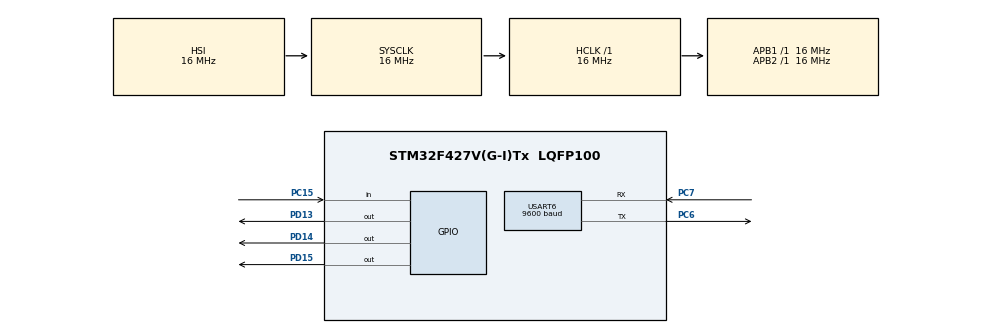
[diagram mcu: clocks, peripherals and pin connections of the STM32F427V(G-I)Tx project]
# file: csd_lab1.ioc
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Mcu.Family=STM32F4
Mcu.Name=STM32F427V(G-I)Tx
Mcu.Package=LQFP100
NVIC.PriorityGroup=NVIC_PRIORITYGROUP_4
NVIC.USART6_IRQn=true\:0\:0\:false\:false\:true\:true\:true\:true
PA13.Mode=JTAG_5_pins
PA13.Signal=SYS_JTMS-SWDIO
PA14.Mode=JTAG_5_pins
PA14.Signal=SYS_JTCK-SWCLK
PA15.Mode=JTAG_5_pins
PA15.Signal=SYS_JTDI
PB3.Mode=JTAG_5_pins
PB3.Signal=SYS_JTDO-SWO
PB4.Mode=JTAG_5_pins
PB4.Signal=SYS_JTRST
PC15/OSC32_OUT.Signal=GPIO_Input
PC6.Mode=Asynchronous
PC6.Signal=USART6_TX
PC7.Mode=Asynchronous
PC7.Signal=USART6_RX
PD13.Signal=GPIO_Output
PD14.Signal=GPIO_Output
PD15.Signal=GPIO_Output
ProjectManager.HeapSize=0x200
ProjectManager.StackSize=0x400
ProjectManager.TargetToolchain=STM32CubeIDE
RCC.AHBFreq_Value=16000000
RCC.APB1Freq_Value=16000000
RCC.APB2Freq_Value=16000000
RCC.CortexFreq_Value=16000000
RCC.HSE_VALUE=25000000
RCC.HSI_VALUE=16000000
RCC.LSE_VALUE=32768
RCC.SYSCLKFreq_VALUE=16000000
RCC.VCOOutputFreq_Value=192000000
USART6.BaudRate=9600
USART6.VirtualMode=VM_ASYNC
board=custom

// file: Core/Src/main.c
/* USER CODE BEGIN Header */
/**
 ******************************************************************************
 * @file           : main.c
 * @brief          : Main program body
 ******************************************************************************
 * @attention
 *
 * Copyright (c) 2023 STMicroelectronics.
 * All rights reserved.
 *
 * This software is licensed under terms that can be found in the LICENSE file
 * in the root directory of this software component.
 * If no LICENSE file comes with this software, it is provided AS-IS.
 *
 ******************************************************************************
 */
/* USER CODE END Header */
#include "main.h"
#include "usart.h"
#include "gpio.h"

/* USER CODE BEGIN Includes */
#include <stdlib.h>
#include <string.h>
/* USER CODE END Includes */

/* USER CODE BEGIN PV */
uint16_t GREEN_LIGHT = GPIO_PIN_13;
uint16_t YELLOW_LIGHT = GPIO_PIN_14;
uint16_t RED_LIGHT = GPIO_PIN_15;
uint16_t BUTTON = GPIO_PIN_15;
int maxCombIndex = 4;
uint32_t startTime = 0;
const uint32_t second = 1000;
uint16_t blink_mode = 0; // Номер комбинации

typedef struct {
	int length;
	int currentPhase;
	uint32_t *lamp; //Последовательность ламп в комбинации
	uint32_t *defaultTime; //Дефолтная продолжительность ламп
	uint32_t *leftTime; //Оставшаяся продолжительность ламп
} Combination;

Combination* combList;

typedef struct {
	uint8_t length;
	char *values;
	char *symbol;
} Buffer;

/* USER CODE END PV */

void SystemClock_Config(void);

/* USER CODE BEGIN 0 */

Buffer BufferConstructor(int length) {
	Buffer buffer;
	buffer.length = length;
	buffer.values = (char*) malloc(length * sizeof(char));
	buffer.symbol = buffer.values;

	return buffer;
}

Combination CombinationConstructor(int length, uint32_t *lamp,
		uint32_t *defaultTime) {
	Combination comb;
	comb.length = length;
	comb.currentPhase = 0;
	comb.lamp = (uint32_t*) malloc(length * sizeof(uint32_t));
	comb.defaultTime = (uint32_t*) malloc(length * sizeof(uint32_t));
	comb.leftTime = (uint32_t*) malloc(length * sizeof(uint32_t));

	// Copy values to allocated memory
	for (int i = 0; i < length; i++) {
		comb.lamp[i] = lamp[i];
		comb.defaultTime[i] = defaultTime[i];
		comb.leftTime[i] = defaultTime[i];
	}

	return comb;
}

Combination* CombListGenerator(int numCombinations) {
	Combination *combinationList = (Combination*) malloc(
			numCombinations * sizeof(Combination));

	// Combination 0
	uint32_t lamps0[] = { GREEN_LIGHT, YELLOW_LIGHT, RED_LIGHT };
	uint32_t defaultTime0[] = { 1 * second, 1 * second, 1 * second };
	combinationList[0] = CombinationConstructor(3, lamps0, defaultTime0);

	// Combination 1
	uint32_t lamps1[] = { RED_LIGHT, YELLOW_LIGHT };
	uint32_t defaultTime1[] = { 1 * second, 1 * second };
	combinationList[1] = CombinationConstructor(2, lamps1, defaultTime1);

	// Combination 2
	uint32_t lamps2[] = { GREEN_LIGHT, RED_LIGHT };
	uint32_t defaultTime2[] = { 1 * second, 1 * second };
	combinationList[2] = CombinationConstructor(2, lamps2, defaultTime2);

	// Combination 3
	uint32_t lamps3[] = { RED_LIGHT, YELLOW_LIGHT, GREEN_LIGHT };
	uint32_t defaultTime3[] = { 1 * second, 1 * second, 1* second };
	combinationList[3] = CombinationConstructor(3, lamps3, defaultTime3);

	// Combination 4
	uint32_t lamps4[] = { GREEN_LIGHT, YELLOW_LIGHT, GREEN_LIGHT };
	uint32_t defaultTime4[] = { 0.2 * second, 0.2 * second, 0.2 * second };
	combinationList[4] = CombinationConstructor(3, lamps4, defaultTime4);

	// Add more combinations as needed

	return combinationList;
}

void wait(uint32_t duration) {
	uint32_t begin = HAL_GetTick();
	while ((HAL_GetTick() - begin) < duration) {

	}
}

void turnLightOff(uint16_t light_type) {
	HAL_GPIO_WritePin(GPIOD, light_type, GPIO_PIN_RESET);
}

void turnLightOn(uint16_t light_type) {
	HAL_GPIO_WritePin(GPIOD, light_type, GPIO_PIN_SET);
}

//Выполняет фазу. Если пользователь нажимает кнопку -- меняет комбинацию
uint16_t completePhase(Combination *comb, uint16_t blink_mode) {
	uint16_t result_blink_mode = blink_mode;

	int currentPhase = comb->currentPhase;
	turnLightOn(comb->lamp[currentPhase]);
	startTime = HAL_GetTick();
	uint32_t duration;
	int pressedButton = 0;

	while ((duration = HAL_GetTick() - startTime) < comb->leftTime[currentPhase]) {
		if (HAL_GPIO_ReadPin(GPIOC, BUTTON) == 0) {
			comb->leftTime[currentPhase] -= duration;
			result_blink_mode++; // Если кнопка нажата то меняем комбинацию
			wait(second * 0.5);
			pressedButton = 1;
			break;
		}
	}

	if (pressedButton == 0) {
		comb->leftTime[currentPhase] = comb->defaultTime[currentPhase];
		comb->currentPhase += 1;
		if (comb->currentPhase == comb->length) {
			comb->currentPhase = 0;
		}
	}

	turnLightOff(comb->lamp[currentPhase]);
	return result_blink_mode;
}

void user_print(char *mes) {
	int debugSize = strlen(mes);
	HAL_UART_Transmit(&huart6, (uint8_t*) mes, debugSize, 3000);
	return;
}

void proceedCommand(char *command) {

	//Начало обработки комманды создания новой комбинации
	if (strcmp(strtok(command, " "), "new") == 0) {

		char *light = strtok(NULL, " ");
		int combLen = strlen(light);
		if (!(2 <= strlen(light) && strlen(light) <= 8)) {
			user_print("Количество ламп в комбинации должно быть от 2 до 8\n");
			return;
		}

		uint32_t lamp[combLen];

		int i = 0;
		while (light[i] != NULL) {
			if (light[i] == 'g') {
				lamp[i] = GREEN_LIGHT;
			} else if (light[i] == 'y') {
				lamp[i] = YELLOW_LIGHT;
			} else if (light[i] == 'r') {
				lamp[i] = RED_LIGHT;
			} else if (light[i] == 'n') {
				lamp[i] = 0;
			} else {
				user_print("Доступны только следующие символы g, r, y, n \n");
				return;
			}
			i++;
		}

		user_print("Введите пожалуйста продолжительности для комбинаций\n");
		char mes[100];
		uint32_t defaultTime[combLen]; //Дефолтная продолжительность ламп
		for (int i = 0; i < combLen; i++) {
			sprintf(mes, "\nПродолжительность для комбинации №%d\n", i);
			user_print(mes);
			uint32_t number_i;
			char timeForComb[10];
			char *currentTimePosition = timeForComb;

			while (1) {
				if (HAL_UART_Receive(&huart6, (uint8_t*) currentTimePosition, 1, 100) == HAL_OK) {
					if (*currentTimePosition == '\r') {
						*currentTimePosition = '\0';
						number_i = atoi(timeForComb);
						if (number_i == 0) {
							user_print("Вы должны ввести число больше 0");
							return;
						}
						break; //Пользователь правильно ввёл число, которое нам было нужно
					}
					HAL_UART_Transmit(&huart6, (uint8_t*) currentTimePosition, 1, 3000);
					currentTimePosition++;
				}
			}
			defaultTime[i] = number_i;
		}

		Combination combination = CombinationConstructor(combLen, lamp, defaultTime);
		combList[maxCombIndex] = combination;
		maxCombIndex++;
		if (maxCombIndex == 8) {
			maxCombIndex = 4;
		}
		return;
	}
	//Конец обработки комманды создания новой комбинации

	//Начало обработки комманды -- сделать активной комбинацию
	if (strcmp(strtok(command, " "), "set") == 0) {
		char *comb_num_as_str = strtok(NULL, " ");

		int comb_num = atoi(comb_num_as_str);
		if (!(5 <= comb_num && comb_num <= 8)) {
			user_print("Вы должны ввести число в диапазоне [5,8]");
			return;
		}
		blink_mode = comb_num;
	}
	return;
	//Конец обработки комманды -- сделать активной комбинацию

}

/* USER CODE END 0 */

int main(void) {

	/* MCU Configuration--------------------------------------------------------*/

	/* Reset of all peripherals, Initializes the Flash interface and the Systick. */
	HAL_Init();

	/* Configure the system clock */
	SystemClock_Config();

	/* Initialize all configured peripherals */
	MX_GPIO_Init();
	MX_USART6_UART_Init();
	/* USER CODE BEGIN 2 */

	//Combination* combList -- список комбинаций
	combList = CombListGenerator(8);
	/* USER CODE END 2 */

	/* Infinite loop */
	/* USER CODE BEGIN WHILE */

	Buffer input_buffer = BufferConstructor(100);
	char overFlowMessage[] =
			"\nВы видите данное сообщение если произошло переполнение буфера\n";

	while (1) {
		if (HAL_UART_Receive(&huart6, (uint8_t*) input_buffer.symbol, 1, 100)
				== HAL_OK) {
			//Дальнейший код нужно будет каким-то образом переписать
			HAL_UART_Transmit(&huart6, (uint8_t*) input_buffer.symbol, 1, 100);
			char letter = *input_buffer.symbol;

			if (*input_buffer.symbol == '\r') {
				char command[input_buffer.symbol - input_buffer.values];
				int i = 0;

				while (1) {
					char command_sym = input_buffer.values[i];
					if (command_sym == '\r') {
						command[i] = '\0';
						break;
					}
					command[i] = command_sym;
					i++;
				}

				proceedCommand(command);
			}

			input_buffer.symbol++;
			if (input_buffer.symbol
					>= input_buffer.values + input_buffer.length) {
				HAL_UART_Transmit(&huart6, (uint8_t*) overFlowMessage,
						sizeof(overFlowMessage), 1000);
				input_buffer.symbol = input_buffer.values;
			}

		}

		 if (blink_mode == maxCombIndex) blink_mode = 0;
		 Combination* comb = &combList[blink_mode];
		 blink_mode = completePhase(comb, blink_mode);

		/* USER CODE END WHILE */

	}
}

void SystemClock_Config(void) {
	RCC_OscInitTypeDef RCC_OscInitStruct = { 0 };
	RCC_ClkInitTypeDef RCC_ClkInitStruct = { 0 };

	/** Configure the main internal regulator output voltage
	 */
	__HAL_RCC_PWR_CLK_ENABLE();
	__HAL_PWR_VOLTAGESCALING_CONFIG(PWR_REGULATOR_VOLTAGE_SCALE3);

	/** Initializes the RCC Oscillators according to the specified parameters
	 * in the RCC_OscInitTypeDef structure.
	 */
	RCC_OscInitStruct.OscillatorType = RCC_OSCILLATORTYPE_HSI;
	RCC_OscInitStruct.HSIState = RCC_HSI_ON;
	RCC_OscInitStruct.HSICalibrationValue = RCC_HSICALIBRATION_DEFAULT;
	RCC_OscInitStruct.PLL.PLLState = RCC_PLL_NONE;
	if (HAL_RCC_OscConfig(&RCC_OscInitStruct) != HAL_OK) {
		Error_Handler();
	}

	/** Initializes the CPU, AHB and APB buses clocks
	 */
	RCC_ClkInitStruct.ClockType = RCC_CLOCKTYPE_HCLK | RCC_CLOCKTYPE_SYSCLK
			| RCC_CLOCKTYPE_PCLK1 | RCC_CLOCKTYPE_PCLK2;
	RCC_ClkInitStruct.SYSCLKSource = RCC_SYSCLKSOURCE_HSI;
	RCC_ClkInitStruct.AHBCLKDivider = RCC_SYSCLK_DIV1;
	RCC_ClkInitStruct.APB1CLKDivider = RCC_HCLK_DIV1;
	RCC_ClkInitStruct.APB2CLKDivider = RCC_HCLK_DIV1;

	if (HAL_RCC_ClockConfig(&RCC_ClkInitStruct, FLASH_LATENCY_0) != HAL_OK) {
		Error_Handler();
	}
}

void Error_Handler(void) {
	__disable_irq();
	while (1) {
	}
}
